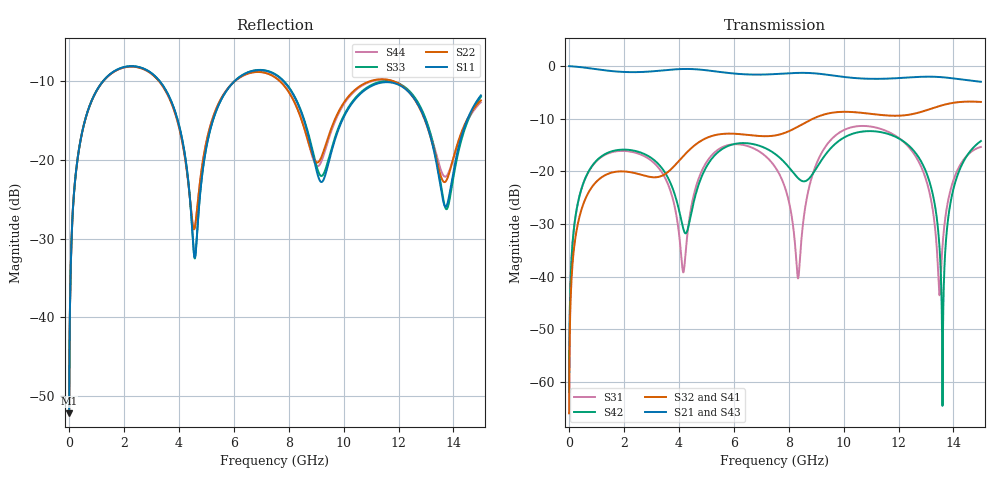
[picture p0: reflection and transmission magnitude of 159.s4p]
! Created with skrf 1.8.0 (http://scikit-rf.org).
# GHz S RI R 50.0
!freq ReS11 ImS11 ReS12 ImS12 ReS13 ImS13
! ReS14 ImS14
! ReS21 ImS21 ReS22 ImS22 ReS23 ImS23
! ReS24 ImS24
! ReS31 ImS31 ReS32 ImS32 ReS33 ImS33
! ReS34 ImS34
! ReS41 ImS41 ReS42 ImS42 ReS43 ImS43
! ReS44 ImS44
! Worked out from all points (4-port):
!   2499 points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, 5 MHz to 15 GHz, reference 50 ohm
!   strongest paths, dB at 5 MHz, 3.476 GHz, 7.19 GHz, 11.1 GHz, 15 GHz:
!     S21: 0.0, -0.8, -1.6, -2.4, -3.0
!     S43: 0.0, -0.8, -1.6, -2.4, -3.0
!     S32: -65.9, -20.6, -13.3, -9.1, -6.8
!     S41: -65.9, -20.6, -13.3, -9.1, -6.8
!     S42: -61.9, -20.1, -15.7, -12.4, -14.2
!     S31: -61.9, -21.0, -17.3, -11.6, -15.4
!   lowest |S11| = -52.2 dB at 5 MHz (marker M1), VSWR 1.00, Z = 50.2 + j0.149 ohm
!   |S11| at or under -10 dB: start of sweep to 1.244 GHz; 3.298 GHz to 6.035 GHz (2.736 GHz wide, 58.6 % of centre); 7.809 GHz to end of sweep
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0.005  0.00196 0.00149  0.998 -0.00382  0.0001 0.000793  -9.71e-05 -0.000495
       0.998 -0.00382  0.00196 0.00149  -9.71e-05 -0.000495  0.0001 0.000793
       0.0001 0.000793  -9.71e-05 -0.000495  0.00196 0.00149  0.998 -0.00382
       -9.71e-05 -0.000495  0.0001 0.000793  0.998 -0.00382  0.00196 0.00149
1.3193  0.277 0.1742  0.5368 -0.7354  0.1282 0.0656  -0.0921 -0.00415
        0.5368 -0.7354  0.2747 0.1758  -0.0921 -0.00418  0.1351 0.0561
        0.1282 0.0656  -0.0921 -0.00418  0.2771 0.1742  0.5368 -0.7355
        -0.0921 -0.00415  0.1351 0.0561  0.5368 -0.7355  0.2747 0.1758
4.445602  0.0256 -0.0386  -0.9257 -0.1479  0.0133 0.0428  -0.0226 0.1639
          -0.9257 -0.1479  0.0375 -0.0302  -0.0231 0.1639  -0.0204 0.0336
          0.0133 0.0428  -0.0231 0.1639  0.0254 -0.0389  -0.9257 -0.1478
          -0.0226 0.1639  -0.0204 0.0336  -0.9257 -0.1478  0.0379 -0.0305
7.134223  0.3655 -0.0475  0.0259 0.8312  0.1265 -0.063  0.2058 -0.0648
          0.0259 0.8312  0.3547 -0.0383  0.2061 -0.0642  0.123 -0.113
          0.1265 -0.063  0.2061 -0.0642  0.3671 -0.0457  0.0263 0.8307
          0.2058 -0.0648  0.123 -0.113  0.0263 0.8307  0.3557 -0.0408
11.86744  0.2985 -0.067  0.00875 -0.7655  0.185 -0.1187  -0.3304 0.0803
          0.00875 -0.7655  0.3012 -0.0847  -0.3288 0.0762  0.1768 -0.1216
          0.185 -0.1187  -0.3288 0.0762  0.3021 -0.076  0.00657 -0.7645
          -0.3304 0.0803  0.1768 -0.1216  0.00657 -0.7645  0.3029 -0.0781
13.60567  0.0526 -0.0222  -0.7296 -0.2849  -0.00196 0.0201  -0.1388 0.4024
          -0.7296 -0.2849  0.0722 -0.0163  -0.1439 0.4005  1.21e-05 0.000604
          -0.00196 0.0201  -0.1439 0.4005  0.051 -0.0306  -0.7297 -0.2833
          -0.1388 0.4024  1.21e-05 0.000604  -0.7297 -0.2833  0.0784 -0.0209
15  0.2071 0.1517  -0.5983 0.3816  0.1666 0.0374  0.2936 0.3502
    -0.5983 0.3816  0.2129 0.1073  0.2895 0.3532  0.1932 -0.0196
    0.1666 0.0374  0.2895 0.3532  0.2053 0.1453  -0.5978 0.3852
    0.2936 0.3502  0.1932 -0.0196  -0.5978 0.3852  0.2088 0.1015
